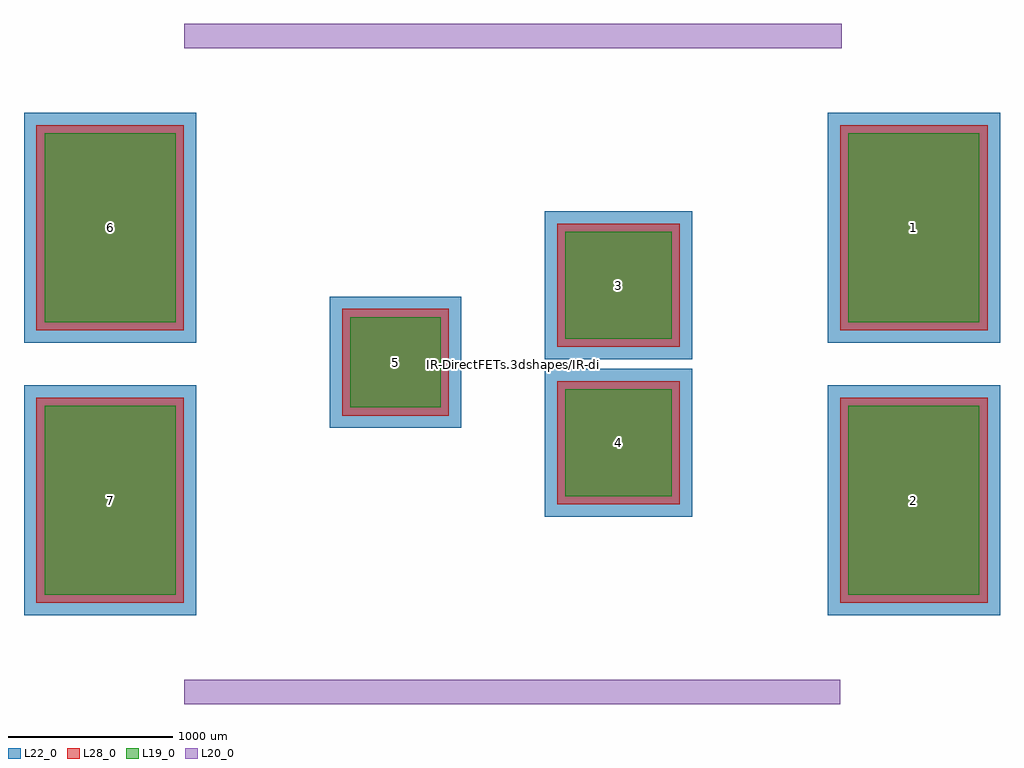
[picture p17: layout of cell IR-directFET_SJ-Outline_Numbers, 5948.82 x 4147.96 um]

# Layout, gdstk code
import gdstk
lib = gdstk.Library(unit=1e-6, precision=1e-09)
def R(c, l, rs):  # rectangles x0, y0, x1, y1
    for r in rs: c.add(gdstk.rectangle(r[:2], r[2:], *l))
L19_0 = (19, 0)
L20_0 = (20, 0)
L22_0 = (22, 0)
L28_0 = (28, 0)

ir_directfet_sj_outline_ = lib.new_cell('IR-directFET_SJ-Outline_Numbers')
R(ir_directfet_sj_outline_, L19_0, [(-2850.68,-1405.42,-2051.52,-255.74), (2048.98,-1405.42,2848.14,-255.74), (323.05,-804.71,972.35,-155.41), (-986.32,-264.96,-436.08,285.28), (323.05,155.41,972.35,804.71), (-2850.68,255.74,-2051.52,1405.42), (2048.98,255.74,2848.14,1405.42)])
R(ir_directfet_sj_outline_, L22_0, [(-2975.68,-1530.42,-1926.52,-130.74), (1923.98,-1530.42,2973.14,-130.74), (198.05,-929.71,1097.35,-30.41), (-1111.32,-389.96,-311.08,410.28), (198.05,30.41,1097.35,929.71), (-2975.68,130.74,-1926.52,1530.42), (1923.98,130.74,2973.14,1530.42)])
R(ir_directfet_sj_outline_, L28_0, [(-2900.68,-1455.42,-2001.52,-205.74), (1998.98,-1455.42,2898.14,-205.74), (273.05,-854.71,1022.35,-105.41), (-1036.32,-314.96,-386.08,335.28), (273.05,105.41,1022.35,854.71), (-2900.68,205.74,-2001.52,1455.42), (1998.98,205.74,2898.14,1455.42)])
ir_directfet_sj_outline_.add(gdstk.FlexPath([(1998.98,1998.98),(2009.14,1998.98)], 149.998, ends="flush", simple_path=True, layer=20, datatype=0))  # L20_0
ir_directfet_sj_outline_.add(gdstk.FlexPath([(-1998.98,1998.98),(1998.98,1998.98)], 149.998, ends="flush", simple_path=True, layer=20, datatype=0))  # L20_0
ir_directfet_sj_outline_.add(gdstk.FlexPath([(1998.98,-1998.98),(-1998.98,-1998.98)], 149.998, ends="flush", simple_path=True, layer=20, datatype=0))  # L20_0
ir_directfet_sj_outline_.add(gdstk.Label('IR-DirectFETs.3dshapes/IR-directFET_SJ-Outline_Numbers.wrl', (0,0), layer=12, texttype=0))
ir_directfet_sj_outline_.add(gdstk.Label('2', (2448.56,-830.58), layer=28, texttype=0))
ir_directfet_sj_outline_.add(gdstk.Label('1', (2448.56,830.58), layer=28, texttype=0))
ir_directfet_sj_outline_.add(gdstk.Label('7', (-2451.1,-830.58), layer=28, texttype=0))
ir_directfet_sj_outline_.add(gdstk.Label('6', (-2451.1,830.58), layer=28, texttype=0))
ir_directfet_sj_outline_.add(gdstk.Label('4', (647.7,-480.06), layer=28, texttype=0))
ir_directfet_sj_outline_.add(gdstk.Label('3', (647.7,480.06), layer=28, texttype=0))
ir_directfet_sj_outline_.add(gdstk.Label('5', (-711.2,10.16), layer=28, texttype=0))
ir_directfet_sj_outline_.add(gdstk.Label('type', (0,-4572), layer=9, texttype=0))
ir_directfet_sj_outline_.add(gdstk.Label('devicename', (10.16,3919.22), layer=9, texttype=0))

lib.write_gds('IR-directFET_SJ-Outline_Numbers.gds')
